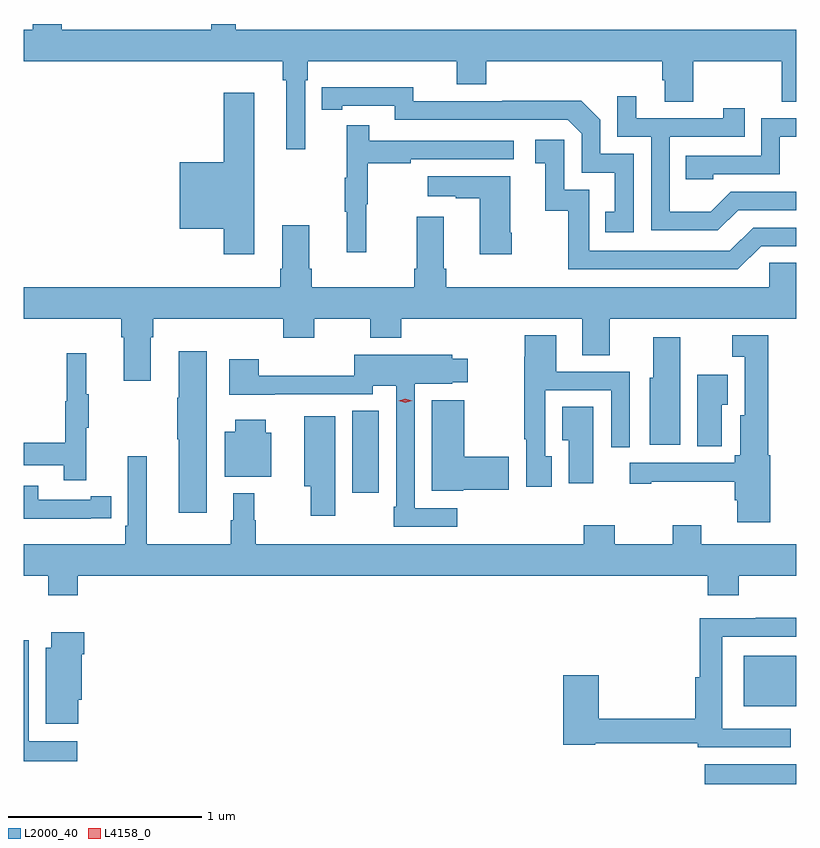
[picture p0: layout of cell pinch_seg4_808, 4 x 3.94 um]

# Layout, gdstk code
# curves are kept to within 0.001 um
import gdstk
lib = gdstk.Library(unit=1e-6, precision=1e-09)
def R(c, l, rs):  # rectangles x0, y0, x1, y1
    for r in rs: c.add(gdstk.rectangle(r[:2], r[2:], *l))
def P(c, l, *ps):  # polygons
    for p in ps: c.add(gdstk.Polygon(p, *l))
L2000_40 = (2000, 40)
L4158_0 = (4158, 0)

pinch_seg4_808 = lib.new_cell('pinch_seg4_808')
R(pinch_seg4_808, L2000_40, [(782.559,790.415,783.032,790.516), (782.759,790.817,783.032,791.08), (780.734,791.922,780.871,792.347)])
P(pinch_seg4_808, L2000_40, [(780.489,794.06),(780.503,794.06),(780.503,794.156),(781.274,794.156),(781.274,794.039),(781.427,794.039),(781.427,794.156),(782.339,794.156),(782.339,794.058),(782.351,794.058),(782.351,793.948),(782.499,793.948),(782.499,794.156),(782.956,794.156),(782.956,793.948),(783.032,793.948),(783.032,794.32),(780.131,794.32),(780.131,794.35),(780.002,794.35),(780.002,794.32),(779.23,794.32),(779.23,794.35),(779.078,794.35),(779.078,794.32),(779.032,794.32),(779.032,794.156),(780.373,794.156),(780.373,794.06),(780.392,794.06),(780.392,793.701),(780.489,793.701)],
  [(782.19,793.677),(782.016,793.677),(782.016,793.854),(781.918,793.952),(781.51,793.952),(781.51,793.95),(781.05,793.95),(781.05,794.023),(780.574,794.022),(780.574,793.906),(780.682,793.906),(780.682,793.926),(780.954,793.926),(780.954,793.854),(781.848,793.854),(781.92,793.782),(781.92,793.581),(782.093,793.581),(782.093,793.377),(782.044,793.377),(782.044,793.272),(782.19,793.272)],
  [(780.226,793.993),(780.068,793.993),(780.068,793.633),(779.84,793.633),(779.84,793.289),(780.068,793.289),(780.068,793.158),(780.226,793.158)],
  [(782.731,793.386),(783.032,793.386),(783.032,793.482),(782.694,793.482),(782.59,793.378),(782.376,793.378),(782.376,793.767),(782.765,793.767),(782.765,793.915),(782.654,793.915),(782.654,793.863),(782.203,793.863),(782.203,793.975),(782.106,793.975),(782.106,793.767),(782.28,793.767),(782.28,793.281),(782.626,793.281)],
  [(782.601,793.572),(782.946,793.572),(782.946,793.767),(783.032,793.767),(783.032,793.863),(782.85,793.863),(782.85,793.668),(782.461,793.668),(782.461,793.545),(782.601,793.545)],
  [(780.806,793.416),(780.814,793.416),(780.814,793.63),(781.037,793.63),(781.037,793.65),(781.57,793.65),(781.57,793.746),(780.821,793.746),(780.821,793.825),(780.704,793.825),(780.704,793.553),(780.693,793.553),(780.693,793.379),(780.704,793.379),(780.704,793.167),(780.806,793.167)],
  [(782.85,793.2),(783.032,793.2),(783.032,793.296),(782.808,793.296),(782.688,793.176),(781.959,793.176),(781.959,793.491),(781.83,793.491),(781.83,793.75),(781.68,793.75),(781.68,793.629),(781.733,793.629),(781.733,793.383),(781.851,793.383),(781.851,793.08),(782.73,793.08)],
  [(781.56,793.27),(781.552,793.27),(781.552,793.561),(781.125,793.561),(781.125,793.457),(781.268,793.457),(781.268,793.447),(781.394,793.447),(781.394,793.158),(781.56,793.158)],
  [(779.689,792.728),(779.702,792.728),(779.702,792.824),(780.377,792.824),(780.377,792.725),(780.537,792.725),(780.537,792.824),(780.826,792.824),(780.826,792.725),(780.986,792.725),(780.986,792.824),(781.925,792.824),(781.925,792.634),(782.065,792.634),(782.065,792.824),(783.032,792.824),(783.032,792.988),(783.031,792.988),(783.031,793.115),(782.892,793.115),(782.892,792.988),(781.22,792.988),(781.22,793.084),(781.207,793.084),(781.207,793.351),(781.067,793.351),(781.067,793.084),(781.055,793.084),(781.055,792.988),(780.524,792.988),(780.524,793.084),(780.511,793.084),(780.511,793.309),(780.371,793.309),(780.371,793.084),(780.359,793.084),(780.359,792.988),(779.032,792.988),(779.032,792.824),(779.537,792.824),(779.537,792.728),(779.549,792.728),(779.549,792.504),(779.689,792.504)],
  [(782.897,792.117),(782.887,792.117),(782.887,792.739),(782.7,792.739),(782.7,792.626),(782.765,792.626),(782.765,792.324),(782.741,792.324),(782.741,792.117),(782.714,792.117),(782.714,792.078),(782.169,792.078),(782.169,791.97),(782.281,791.97),(782.281,791.98),(782.714,791.98),(782.714,791.883),(782.726,791.883),(782.726,791.769),(782.897,791.769)],
  [(781.765,792.111),(781.731,792.111),(781.731,792.453),(782.073,792.453),(782.073,792.159),(782.169,792.159),(782.169,792.549),(781.789,792.549),(781.789,792.739),(781.627,792.739),(781.627,792.626),(781.623,792.626),(781.623,792.199),(781.635,792.199),(781.635,791.955),(781.765,791.955)],
  [(782.431,792.727),(782.291,792.727),(782.291,792.519),(782.273,792.519),(782.273,792.171),(782.431,792.171)],
  [(779.98,792.655),(779.834,792.655),(779.834,792.416),(779.827,792.416),(779.827,792.199),(779.834,792.199),(779.834,791.82),(779.98,791.82)],
  [(779.357,792.259),(779.368,792.259),(779.368,792.433),(779.357,792.433),(779.357,792.646),(779.254,792.646),(779.254,792.396),(779.247,792.396),(779.247,792.182),(779.032,792.182),(779.032,792.066),(779.239,792.066),(779.239,791.988),(779.357,791.988)],
  [(781.276,791.844),(781.056,791.844),(781.056,792.488),(781.251,792.488),(781.251,792.494),(781.33,792.494),(781.33,792.616),(781.251,792.616),(781.251,792.637),(780.744,792.637),(780.744,792.53),(780.248,792.53),(780.248,792.613),(780.095,792.613),(780.095,792.431),(780.331,792.431),(780.331,792.432),(780.84,792.432),(780.84,792.476),(780.96,792.476),(780.96,791.851),(780.948,791.851),(780.948,791.748),(781.276,791.748)],
  [(782.647,792.379),(782.677,792.379),(782.677,792.535),(782.519,792.535),(782.519,792.163),(782.647,792.163)],
  [(781.308,791.939),(781.543,791.939),(781.543,792.11),(781.312,792.11),(781.312,792.403),(781.145,792.403),(781.145,791.933),(781.308,791.933)],
  [(781.981,792.368),(781.82,792.368),(781.82,792.194),(781.853,792.194),(781.853,791.973),(781.981,791.973)],
  [(780.646,792.319),(780.485,792.319),(780.485,791.957),(780.517,791.957),(780.517,791.805),(780.646,791.805)],
  [(780.313,792.234),(780.286,792.234),(780.286,792.301),(780.128,792.301),(780.128,792.238),(780.074,792.238),(780.074,792.005),(780.313,792.005)],
  [(782.573,791.393),(782.733,791.393),(782.733,791.492),(783.032,791.492),(783.032,791.656),(782.539,791.656),(782.539,791.755),(782.392,791.755),(782.392,791.656),(782.091,791.656),(782.091,791.755),(781.931,791.755),(781.931,791.656),(780.233,791.656),(780.233,791.78),(780.226,791.78),(780.226,791.92),(780.116,791.92),(780.116,791.78),(780.105,791.78),(780.105,791.656),(779.668,791.656),(779.668,792.112),(779.571,792.112),(779.571,791.752),(779.558,791.752),(779.558,791.656),(779.032,791.656),(779.032,791.492),(779.159,791.492),(779.159,791.393),(779.312,791.393),(779.312,791.492),(782.573,791.492)],
  [(779.378,791.79),(779.486,791.79),(779.486,791.906),(779.378,791.906),(779.378,791.886),(779.106,791.886),(779.106,791.958),(779.032,791.958),(779.032,791.789),(779.378,791.789)],
  [(783.004,790.701),(782.649,790.701),(782.649,791.178),(783.032,791.178),(783.032,791.276),(782.821,791.276),(782.821,791.274),(782.533,791.274),(782.533,790.969),(782.51,790.969),(782.51,790.754),(782.009,790.754),(782.009,790.978),(781.826,790.978),(781.826,790.618),(781.992,790.618),(781.992,790.626),(782.522,790.626),(782.522,790.605),(783.004,790.605)],
  [(779.314,790.851),(779.332,790.851),(779.332,791.087),(779.345,791.087),(779.345,791.2),(779.174,791.2),(779.174,791.121),(779.147,791.121),(779.147,790.728),(779.314,790.728)],
  [(779.308,790.636),(779.058,790.636),(779.058,791.16),(779.032,791.16),(779.032,790.532),(779.308,790.532)])
P(pinch_seg4_808, L4158_0, [(781.008,792.39),(780.973,792.399),(780.972,792.4),(780.973,792.4),(781.008,792.41),(781.043,792.4),(781.043,792.4),(781.043,792.4)])

lib.write_gds('pinch_seg4_808.gds')
